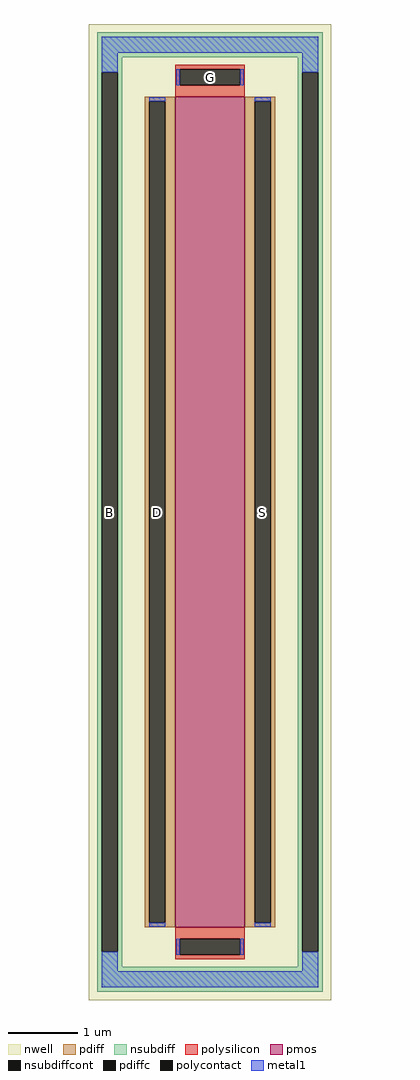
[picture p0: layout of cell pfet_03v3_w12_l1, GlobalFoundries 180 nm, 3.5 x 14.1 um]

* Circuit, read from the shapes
.subckt pfet_03v3_w12_l1 D S G B
XM1 S G D B pfet_03v3 w=12u l=1u
.ends

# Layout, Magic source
magic
tech gf180mcuD
magscale 1 10
<< nwell >>
rect -350 -1410 350 1410
<< pmos >>
rect -100 -1200 100 1200
<< pdiff >>
rect -188 1187 -100 1200
rect -188 -1187 -175 1187
rect -129 -1187 -100 1187
rect -188 -1200 -100 -1187
rect 100 1187 188 1200
rect 100 -1187 129 1187
rect 175 -1187 188 1187
rect 100 -1200 188 -1187
<< pdiffc >>
rect -175 -1187 -129 1187
rect 129 -1187 175 1187
<< nsubdiff >>
rect -326 1314 326 1386
rect -326 1270 -254 1314
rect -326 -1270 -313 1270
rect -267 -1270 -254 1270
rect 254 1270 326 1314
rect -326 -1314 -254 -1270
rect 254 -1270 267 1270
rect 313 -1270 326 1270
rect 254 -1314 326 -1270
rect -326 -1386 326 -1314
<< nsubdiffcont >>
rect -313 -1270 -267 1270
rect 267 -1270 313 1270
<< polysilicon >>
rect -100 1279 100 1292
rect -100 1233 -87 1279
rect 87 1233 100 1279
rect -100 1200 100 1233
rect -100 -1233 100 -1200
rect -100 -1279 -87 -1233
rect 87 -1279 100 -1233
rect -100 -1292 100 -1279
<< polycontact >>
rect -87 1233 87 1279
rect -87 -1279 87 -1233
<< metal1 >>
rect -313 1327 313 1373
rect -313 1270 -267 1327
rect -98 1233 -87 1279
rect 87 1233 98 1279
rect 267 1270 313 1327
rect -175 1187 -129 1198
rect -175 -1198 -129 -1187
rect 129 1187 175 1198
rect 129 -1198 175 -1187
rect -313 -1327 -267 -1270
rect -98 -1279 -87 -1233
rect 87 -1279 98 -1233
rect 267 -1327 313 -1270
rect -313 -1373 313 -1327
<< labels >>
rlabel pdiffc -152 0 -152 0 0 D
port 1 nsew
rlabel pdiffc 152 0 152 0 0 S
port 2 nsew
rlabel polycontact 0 1256 0 1256 0 G
port 3 nsew
rlabel nsubdiffcont -290 0 -290 0 0 B
port 4 nsew
<< properties >>
string FIXED_BBOX -290 -1350 290 1350
<< end >>
